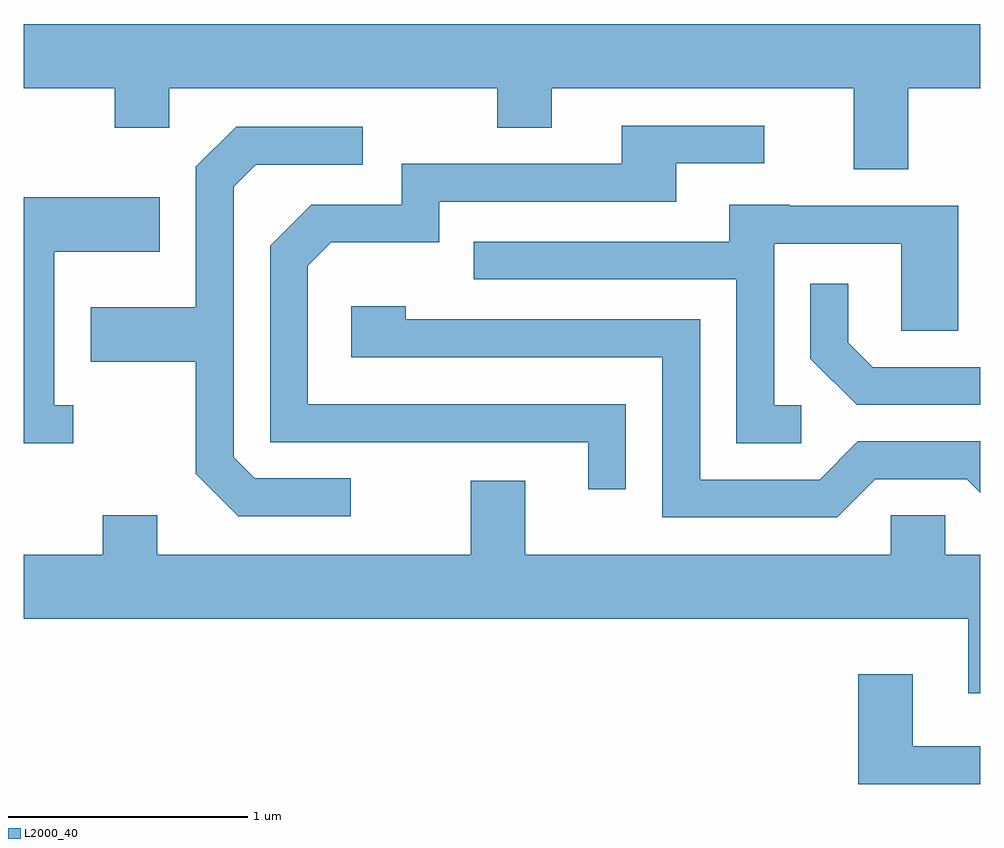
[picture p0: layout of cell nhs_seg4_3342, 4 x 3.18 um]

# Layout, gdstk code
import gdstk
lib = gdstk.Library(unit=1e-6, precision=1e-09)
def P(c, l, *ps):  # polygons
    for p in ps: c.add(gdstk.Polygon(p, *l))
L2000_40 = (2000, 40)

nhs_seg4_3342 = lib.new_cell('nhs_seg4_3342')
P(nhs_seg4_3342, L2000_40, [(287.309,1276.976),(287.611,1276.976),(287.611,1277.244),(283.611,1277.244),(283.611,1276.976),(283.991,1276.976),(283.991,1276.811),(284.219,1276.811),(284.219,1276.976),(285.591,1276.976),(285.591,1276.811),(285.819,1276.811),(285.819,1276.976),(287.081,1276.976),(287.081,1276.636),(287.309,1276.636)],
  [(286.129,1275.654),(284.799,1275.654),(284.799,1276.234),(284.897,1276.331),(285.349,1276.331),(285.349,1276.501),(286.339,1276.501),(286.339,1276.661),(286.708,1276.661),(286.708,1276.819),(286.111,1276.819),(286.111,1276.659),(285.191,1276.659),(285.191,1276.489),(284.814,1276.489),(284.641,1276.317),(284.641,1275.496),(285.971,1275.496),(285.971,1275.298),(286.129,1275.298)],
  [(284.978,1275.344),(284.577,1275.344),(284.489,1275.432),(284.489,1276.564),(284.582,1276.656),(285.028,1276.656),(285.028,1276.814),(284.499,1276.814),(284.331,1276.647),(284.331,1276.059),(283.891,1276.059),(283.891,1275.831),(284.331,1275.831),(284.331,1275.364),(284.509,1275.186),(284.978,1275.186)],
  [(283.818,1275.649),(283.739,1275.649),(283.739,1276.291),(284.179,1276.291),(284.179,1276.519),(283.611,1276.519),(283.611,1275.491),(283.818,1275.491)],
  [(286.863,1275.649),(286.749,1275.649),(286.749,1276.326),(287.281,1276.326),(287.281,1275.961),(287.519,1275.961),(287.519,1276.484),(286.815,1276.484),(286.815,1276.489),(286.561,1276.489),(286.561,1276.334),(285.493,1276.334),(285.493,1276.176),(286.591,1276.176),(286.591,1275.491),(286.863,1275.491)],
  [(287.611,1275.809),(287.162,1275.809),(287.059,1275.912),(287.059,1276.158),(286.901,1276.158),(286.901,1275.844),(287.094,1275.651),(287.611,1275.651)],
  [(287.172,1275.341),(287.554,1275.341),(287.611,1275.284),(287.611,1275.499),(287.099,1275.499),(286.939,1275.339),(286.439,1275.339),(286.439,1276.009),(285.209,1276.009),(285.209,1276.064),(284.981,1276.064),(284.981,1275.851),(286.281,1275.851),(286.281,1275.181),(287.012,1275.181)],
  [(287.611,1275.024),(287.464,1275.024),(287.464,1275.189),(287.236,1275.189),(287.236,1275.024),(285.709,1275.024),(285.709,1275.334),(285.481,1275.334),(285.481,1275.024),(284.169,1275.024),(284.169,1275.189),(283.941,1275.189),(283.941,1275.024),(283.611,1275.024),(283.611,1274.756),(287.561,1274.756),(287.561,1274.446),(287.611,1274.446)],
  [(287.611,1274.224),(287.329,1274.224),(287.329,1274.524),(287.101,1274.524),(287.101,1274.066),(287.611,1274.066)])

lib.write_gds('nhs_seg4_3342.gds')
